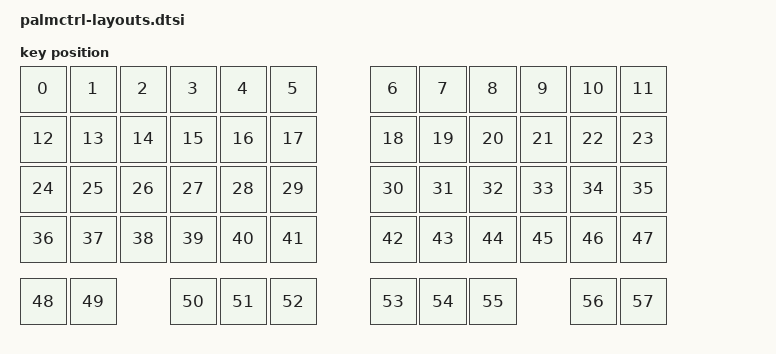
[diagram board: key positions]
#include <physical_layouts.dtsi>

/{
    physical_layout0: physical_layout_0 {
        compatible = "zmk,physical-layout";
        display-name = "PalmCtrl Default";
        keys  //               w    h     x     y     rot   rx    ry
        // Left half - top row (row 0)
        = <&key_physical_attrs 100  100   0     0     0     0     0>  // RC(0,0)
        , <&key_physical_attrs 100  100   100   0     0     0     0>  // RC(0,1)
        , <&key_physical_attrs 100  100   200   0     0     0     0>  // RC(0,2)
        , <&key_physical_attrs 100  100   300   0     0     0     0>  // RC(0,3)
        , <&key_physical_attrs 100  100   400   0     0     0     0>  // RC(0,4)
        , <&key_physical_attrs 100  100   500   0     0     0     0>  // RC(0,5)

        // Right half - top row (row 0)
        , <&key_physical_attrs 100  100   700   0     0     0     0>  // RC(0,6)
        , <&key_physical_attrs 100  100   800   0     0     0     0>  // RC(0,7)
        , <&key_physical_attrs 100  100   900   0     0     0     0>  // RC(0,8)
        , <&key_physical_attrs 100  100   1000  0     0     0     0>  // RC(0,9)
        , <&key_physical_attrs 100  100   1100  0     0     0     0>  // RC(0,10)
        , <&key_physical_attrs 100  100   1200  0     0     0     0>  // RC(0,11)

        // Left half - second row (row 1)
        , <&key_physical_attrs 100  100   0     100   0     0     0>  // RC(1,0)
        , <&key_physical_attrs 100  100   100   100   0     0     0>  // RC(1,1)
        , <&key_physical_attrs 100  100   200   100   0     0     0>  // RC(1,2)
        , <&key_physical_attrs 100  100   300   100   0     0     0>  // RC(1,3)
        , <&key_physical_attrs 100  100   400   100   0     0     0>  // RC(1,4)
        , <&key_physical_attrs 100  100   500   100   0     0     0>  // RC(1,5)

        // Right half - second row (row 1)
        , <&key_physical_attrs 100  100   700   100   0     0     0>  // RC(1,6)
        , <&key_physical_attrs 100  100   800   100   0     0     0>  // RC(1,7)
        , <&key_physical_attrs 100  100   900   100   0     0     0>  // RC(1,8)
        , <&key_physical_attrs 100  100   1000  100   0     0     0>  // RC(1,9)
        , <&key_physical_attrs 100  100   1100  100   0     0     0>  // RC(1,10)
        , <&key_physical_attrs 100  100   1200  100   0     0     0>  // RC(1,11)

        // Left half - third row (row 2)
        , <&key_physical_attrs 100  100   0     200   0     0     0>  // RC(2,0)
        , <&key_physical_attrs 100  100   100   200   0     0     0>  // RC(2,1)
        , <&key_physical_attrs 100  100   200   200   0     0     0>  // RC(2,2)
        , <&key_physical_attrs 100  100   300   200   0     0     0>  // RC(2,3)
        , <&key_physical_attrs 100  100   400   200   0     0     0>  // RC(2,4)
        , <&key_physical_attrs 100  100   500   200   0     0     0>  // RC(2,5)

        // Right half - third row (row 2)
        , <&key_physical_attrs 100  100   700   200   0     0     0>  // RC(2,6)
        , <&key_physical_attrs 100  100   800   200   0     0     0>  // RC(2,7)
        , <&key_physical_attrs 100  100   900   200   0     0     0>  // RC(2,8)
        , <&key_physical_attrs 100  100   1000  200   0     0     0>  // RC(2,9)
        , <&key_physical_attrs 100  100   1100  200   0     0     0>  // RC(2,10)
        , <&key_physical_attrs 100  100   1200  200   0     0     0>  // RC(2,11)

        // Left half - fourth row (row 3)
        , <&key_physical_attrs 100  100   0     300   0     0     0>  // RC(3,0)
        , <&key_physical_attrs 100  100   100   300   0     0     0>  // RC(3,1)
        , <&key_physical_attrs 100  100   200   300   0     0     0>  // RC(3,2)
        , <&key_physical_attrs 100  100   300   300   0     0     0>  // RC(3,3)
        , <&key_physical_attrs 100  100   400   300   0     0     0>  // RC(3,4)
        , <&key_physical_attrs 100  100   500   300   0     0     0>  // RC(3,5)

        // Right half - fourth row (row 3)
        , <&key_physical_attrs 100  100   700   300   0     0     0>  // RC(3,6)
        , <&key_physical_attrs 100  100   800   300   0     0     0>  // RC(3,7)
        , <&key_physical_attrs 100  100   900   300   0     0     0>  // RC(3,8)
        , <&key_physical_attrs 100  100   1000  300   0     0     0>  // RC(3,9)
        , <&key_physical_attrs 100  100   1100  300   0     0     0>  // RC(3,10)
        , <&key_physical_attrs 100  100   1200  300   0     0     0>  // RC(3,11)

        // Left half - palm keys (row 4)
        , <&key_physical_attrs 100  100   0     425   0     0     0>  // RC(4,0) - Left palm key 1
        , <&key_physical_attrs 100  100   100   425   0     0     0>  // RC(4,1) - Left palm key 2

        // Left half - thumb cluster (row 4)
        , <&key_physical_attrs 100  100   300   425   0     0     0>  // RC(4,3) - Left thumb 1
        , <&key_physical_attrs 100  100   400   425   0     0     0>  // RC(4,6) - Left thumb 2
        , <&key_physical_attrs 100  100   500   425   0     0     0>  // RC(4,5) - Left thumb 3

        // Right half - thumb cluster (row 4)
        , <&key_physical_attrs 100  100   700   425   0     0     0>  // RC(4,6) - Right thumb 1
        , <&key_physical_attrs 100  100   800   425   0     0     0>  // RC(4,7) - Right thumb 2
        , <&key_physical_attrs 100  100   900   425   0     0     0>  // RC(4,8) - Right thumb 3

        // Right half - palm keys (row 4)
        , <&key_physical_attrs 100  100   1100  425   0     0     0>  // RC(4,10) - Right palm key 1
        , <&key_physical_attrs 100  100   1200  425   0     0     0>  // RC(4,11) - Right palm key 2
        ;
    };
};
